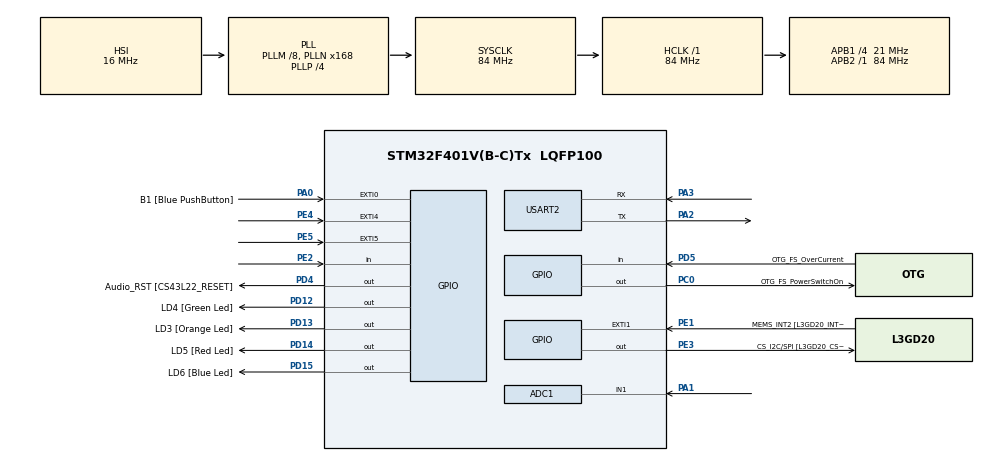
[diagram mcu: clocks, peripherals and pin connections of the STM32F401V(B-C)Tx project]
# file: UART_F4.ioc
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ADC1.Channel-4\#ChannelRegularConversion=ADC_CHANNEL_1
ADC1.ClockPrescaler=ADC_CLOCK_SYNC_PCLK_DIV4
ADC1.ContinuousConvMode=DISABLE
ADC1.DMAContinuousRequests=DISABLE
ADC1.DataAlign=ADC_DATAALIGN_RIGHT
ADC1.DiscontinuousConvMode=DISABLE
ADC1.EOCSelection=ADC_EOC_SINGLE_CONV
ADC1.EnableAnalogWatchDog=false
ADC1.ExternalTrigConv=ADC_EXTERNALTRIGCONV_T2_TRGO
ADC1.ExternalTrigConvEdge=ADC_EXTERNALTRIGCONVEDGE_RISING
ADC1.InjNumberOfConversion=0
ADC1.NbrOfConversion=1
ADC1.NbrOfConversionFlag=1
ADC1.Rank-4\#ChannelRegularConversion=1
ADC1.Resolution=ADC_RESOLUTION_12B
ADC1.SamplingTime-4\#ChannelRegularConversion=ADC_SAMPLETIME_144CYCLES
ADC1.ScanConvMode=DISABLE
ADC1.master=1
Dma.ADC1.0.Direction=DMA_PERIPH_TO_MEMORY
Dma.ADC1.0.FIFOMode=DMA_FIFOMODE_DISABLE
Dma.ADC1.0.Instance=DMA2_Stream0
Dma.ADC1.0.MemDataAlignment=DMA_MDATAALIGN_HALFWORD
Dma.ADC1.0.MemInc=DMA_MINC_ENABLE
Dma.ADC1.0.Mode=DMA_NORMAL
Dma.ADC1.0.PeriphDataAlignment=DMA_PDATAALIGN_HALFWORD
Dma.ADC1.0.PeriphInc=DMA_PINC_DISABLE
Dma.ADC1.0.Priority=DMA_PRIORITY_LOW
Dma.Request0=ADC1
Mcu.Family=STM32F4
Mcu.Name=STM32F401V(B-C)Tx
Mcu.Package=LQFP100
NVIC.DMA2_Stream0_IRQn=true\:0\:0\:false\:false\:true
NVIC.PriorityGroup=NVIC_PRIORITYGROUP_0
PA0-WKUP.GPIO_Label=B1 [Blue PushButton]
PA0-WKUP.GPIO_ModeDefaultEXTI=GPIO_MODE_EVT_RISING
PA0-WKUP.Signal=GPXTI0
PA1.Signal=ADCx_IN1
PA10.GPIO_Label=OTG_FS_ID
PA10.Signal=USB_OTG_FS_ID
PA11.GPIO_Label=OTG_FS_DM
PA11.Signal=USB_OTG_FS_DM
PA12.GPIO_Label=OTG_FS_DP
PA12.Signal=USB_OTG_FS_DP
PA13.GPIO_Label=SWDIO
PA13.Signal=SYS_JTMS-SWDIO
PA14.GPIO_Label=SWCLK
PA14.Signal=SYS_JTCK-SWCLK
PA2.Mode=Asynchronous
PA2.Signal=USART2_TX
PA3.Mode=Asynchronous
PA3.Signal=USART2_RX
PA4.GPIO_Label=I2S3_WS [CS43L22_LRCK]
PA4.GPIO_Mode=GPIO_MODE_AF_PP
PA4.GPIO_PuPd=GPIO_NOPULL
PA4.GPIO_Speed=GPIO_SPEED_FREQ_LOW
PA4.Signal=I2S3_WS
PA5.GPIO_Label=SPI1_SCK [L3GD20_SC/SPC]
PA5.Signal=SPI1_SCK
PA6.GPIO_Label=SPI1_MISO [L3GD20_AS0/SDO]
PA6.Signal=SPI1_MISO
PA7.GPIO_Label=SPI1_MISO [L3GD20_SDA/SDI/SDO]
PA7.Signal=SPI1_MOSI
PA9.GPIO_Label=VBUS_FS
PA9.Signal=USB_OTG_FS_VBUS
PB10.GPIO_Label=CLK_IN [MP45DT02_CLK]
PB10.Signal=I2S2_CK
PB12.Signal=I2S2_WS
PB3.GPIO_Label=SWO
PB3.Signal=SYS_JTDO-SWO
PB6.GPIO_Label=Audio_SCL [CS43L22_SCL]
PB6.GPIO_Mode=GPIO_MODE_AF_OD
PB6.GPIO_PuPd=GPIO_NOPULL
PB6.GPIO_Speed=GPIO_SPEED_FREQ_LOW
PB6.Signal=I2C1_SCL
PB9.GPIO_Label=Audio_SDA [CS43L22_SDA]
PB9.GPIO_Mode=GPIO_MODE_AF_OD
PB9.GPIO_PuPd=GPIO_NOPULL
PB9.GPIO_Speed=GPIO_SPEED_FREQ_LOW
PB9.Signal=I2C1_SDA
PC0.GPIO_Label=OTG_FS_PowerSwitchOn
PC0.PinState=GPIO_PIN_SET
PC0.Signal=GPIO_Output
PC10.GPIO_Label=I2S3_SCK [CS43L22_SCLK]
PC10.GPIO_Mode=GPIO_MODE_AF_PP
PC10.GPIO_PuPd=GPIO_NOPULL
PC10.GPIO_Speed=GPIO_SPEED_FREQ_LOW
PC10.Signal=I2S3_CK
PC12.GPIO_Label=I2S3_SD [CS43L22_SDIN]
PC12.GPIO_Mode=GPIO_MODE_AF_PP
PC12.GPIO_PuPd=GPIO_NOPULL
PC12.GPIO_Speed=GPIO_SPEED_FREQ_LOW
PC12.Signal=I2S3_SD
PC14-OSC32_IN.GPIO_Label=PC14-OSC32_IN
PC14-OSC32_IN.Signal=RCC_OSC32_IN
PC15-OSC32_OUT.GPIO_Label=PC15-OSC32_OUT
PC15-OSC32_OUT.Signal=RCC_OSC32_OUT
PC3.GPIO_Label=PDM_OUT [MP45DT02_DOUT]
PC3.Signal=I2S2_SD
PC7.GPIO_Label=I2S3_MCK [CS43L22_MCLK]
PC7.GPIO_Mode=GPIO_MODE_AF_PP
PC7.GPIO_PuPd=GPIO_NOPULL
PC7.GPIO_Speed=GPIO_SPEED_FREQ_LOW
PC7.Signal=I2S3_MCK
PD12.GPIO_Label=LD4 [Green Led]
PD12.GPIO_PuPd=GPIO_NOPULL
PD12.GPIO_Speed=GPIO_SPEED_FREQ_LOW
PD12.Signal=GPIO_Output
PD13.GPIO_Label=LD3 [Orange Led]
PD13.GPIO_PuPd=GPIO_NOPULL
PD13.GPIO_Speed=GPIO_SPEED_FREQ_LOW
PD13.Signal=GPIO_Output
PD14.GPIO_Label=LD5 [Red Led]
PD14.GPIO_PuPd=GPIO_NOPULL
PD14.GPIO_Speed=GPIO_SPEED_FREQ_LOW
PD14.Signal=GPIO_Output
PD15.GPIO_Label=LD6 [Blue Led]
PD15.GPIO_PuPd=GPIO_NOPULL
PD15.GPIO_Speed=GPIO_SPEED_FREQ_LOW
PD15.Signal=GPIO_Output
PD4.GPIO_Label=Audio_RST [CS43L22_RESET]
PD4.Signal=GPIO_Output
PD5.GPIO_Label=OTG_FS_OverCurrent
PD5.Signal=GPIO_Input
PE1.GPIO_Label=MEMS_INT2 [L3GD20_INT2]
PE1.GPIO_ModeDefaultEXTI=GPIO_MODE_EVT_RISING
PE1.Signal=GPXTI1
PE2.Signal=GPIO_Input
PE3.GPIO_Label=CS_I2C/SPI [L3GD20_CS_I2C/SPI]
PE3.Signal=GPIO_Output
PE4.GPIO_ModeDefaultEXTI=GPIO_MODE_EVT_RISING
PE4.Signal=GPXTI4
PE5.GPIO_ModeDefaultEXTI=GPIO_MODE_EVT_RISING
PE5.Signal=GPXTI5
PH0\ -\ OSC_IN.GPIO_Label=PH0-OSC_IN
PH0\ -\ OSC_IN.Mode=HSE-External-Clock-Source
PH0\ -\ OSC_IN.Signal=RCC_OSC_IN
PH1\ -\ OSC_OUT.GPIO_Label=PH1-OSC_OUT
PH1\ -\ OSC_OUT.Mode=HSE-External-Clock-Source
PH1\ -\ OSC_OUT.Signal=RCC_OSC_OUT
ProjectManager.HeapSize=0x200
ProjectManager.StackSize=0x400
ProjectManager.TargetToolchain=SW4STM32
RCC.48MHZClocksFreq_Value=48000000
RCC.AHBFreq_Value=84000000
RCC.APB1CLKDivider=RCC_HCLK_DIV4
RCC.APB1Freq_Value=21000000
RCC.APB1TimFreq_Value=42000000
RCC.APB2Freq_Value=84000000
RCC.APB2TimFreq_Value=84000000
RCC.CortexFreq_Value=84000000
RCC.HCLKFreq_Value=84000000
RCC.HSE_VALUE=8000000
RCC.HSI_VALUE=16000000
RCC.LSE_VALUE=32768
RCC.PLLM=8
RCC.PLLN=168
RCC.PLLP=RCC_PLLP_DIV4
RCC.PLLQ=7
RCC.SYSCLKFreq_VALUE=84000000
RCC.SYSCLKSource=RCC_SYSCLKSOURCE_PLLCLK
RCC.VCOOutputFreq_Value=336000000
SH.ADCx_IN1.0=ADC1_IN1,IN1
TIM2.Period=84000
TIM2.TIM_MasterOutputTrigger=TIM_TRGO_UPDATE
TIM2.TIM_MasterSlaveMode=TIM_MASTERSLAVEMODE_ENABLE
USART2.VirtualMode=VM_ASYNC
VP_TIM2_VS_ClockSourceINT.Mode=Internal
board=STM32F401C-DISCO

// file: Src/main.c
/**
 * @file main.c
 * @author 	Salvatore Barone <salvator.barone@gmail.com> ,
 * 			Alfonso Di Martino <alfonsodimartino160989@gmail.com> ,
 * 			Sossio Fiorillo <fsossio@gmail.com> ,
 * 		 	Pietro Liguori <pie.liguori@gmail.com> .
 *
 * @date 07 07 2017
 *
 * @copyright
 * This program is free software; you can redistribute it and/or modify it under the terms of the GNU General Public License as
 * published by the Free Software Foundation; either version 3 of the License, or any later version.
 * This program is distributed in the hope that it will be useful, but WITHOUT ANY WARRANTY; without even the implied warranty
 * of MERCHANTABILITY or FITNESS FOR A PARTICULAR PURPOSE.  See the GNU General Public License for more details.
 * You should have received a copy of the GNU General Public License along with this program; if not, write to the Free
 * Software Foundation, Inc., 51 Franklin Street, Fifth Floor, Boston, MA 02110-1301, USA.
 *
 */

#include "main.h"
#include "stm32f4xx_hal.h"

/* USER CODE BEGIN Includes */
#include <stdio.h>
#include <stdlib.h>
#include <string.h>
#include <math.h>

/**
 * @addtogroup busSeriali
 * @{
 * @addtogroup UART
 * @{
 * @addtogroup UART_F4
 * @{
 *
 * @brief Implementazione dell' EOP UART F4 che effettua una misura di tensione (rumore sul PIN GND e tensione sul PIN VDD) tramite ADC e comunica con l'EOP UART F3
 * 			per ricevere i parametri della misura e per trasferire i dati acquisiti.
 *
 * @details
 * 			Il dispositivo viene configurato (per quanto riguarda il numero di campioni da acquisire e il formato della comunicazione dei valori acquisiti)
 * 			tramite comunicazione su UART2 da parte dell'EOP UART F3.
 * 			 - Per quanto riguarda la configurazione, il dispositivo riceve informazioni riguardo il numero di cifre per campione e il numero di campioni da acquisire
 * 			(queste due "fasi" sono rispettivamente associate ai due stati della macchina chiamati ATTESACONF ed ATTESA_CONF_CAMPIONI).
 * 			 - Una volta ricevuti i parametri della configurazione si passa allo stato EXECMIS, dove viene avviata la misura, attivando l'ADC che opera con DMA per il
 * 			trasferimento dei dati acquisiti, processando i valori di tensione ricevuti sul pin PA1 (il pin è connesso o al pin GND o al pin VDD, a seconda della misura
 * 			che si intende effettuare).
 * 			 - Terminata l'acquisizione, si passa allo stato STRDATA, dove essenzialmente si ha una modifica del "formato" dei dati, così da avere sequenze di caratteri
 * 			e non un buffer di valori int.
 * 			 - Si passa poi agli ultimi 3 stati della macchina, dove essenzialmente si ha il trasferimento dei dati dall'EOP UART F4 all' EOP UART F3. I 3 stati, rispettivamente
 * 			configurano la comunicazione tra F4 e F3 in termini di numero di cifre per campione e numero di campioni, con conseguente svolgimento del trasferimento
 * 			dello stream di dati acuisiti. <br>
 * 			La comunicaione tra i due EOP Uart avviene tramite bus seriale UART.
 */

#define MAXBUF          10			//!< Dimensione max del buffer di comunicazione
#define BUFADC          5000		//!< Dimensione del buffer che contiene i caratteri campionati dall'ADC
#define MAXADC          1000		//!< Dimensione max dei campioni nel buffer ADC

/* USER CODE END Includes */

ADC_HandleTypeDef hadc1;			//!< Handle della struttura ADC che sarà inizializzato
DMA_HandleTypeDef hdma_adc1;		//!< Handel della struttura dma_ADC che sarà inizializzato

TIM_HandleTypeDef htim2;			//!< Handle della struttura timer che sarà inizializzato

UART_HandleTypeDef huart2;			//!< Handle della struttura uart che sarà inizializzato

/* USER CODE BEGIN PV */
/* Private variables ---------------------------------------------------------*/
uint8_t buffer[MAXBUF];					//!< Buffer di comunicazione dei messaggi
char myChar;							//!< Carattere generico
char bufferADC[BUFADC];					//!< Buffer che contiene i caratteri convertiti dal ADC
unsigned short int codiciADC[MAXADC];	//!< Codice ADC
unsigned short int nChar;				//!< Numero di campioni

/**
 * @brief Stati di esecuzione della macchina
 */
enum StatoF4 {
	ATTESACONF,          		//!< In attesa di conoscere il numero di cifre dei campioni da acquisire.
	ATTESA_CONF_CAMPIONI,		//!< In attesa di conoscere il numero di campioni da acquisire.
	EXECMIS,             		//!< In attesa di completare l'acquisizione dei dati dall'ADC.
	STRDATA,             		//!< Stato in cui la macchina trasforma in stringhe le misure separate da " ; " .
	INVIOCONFNCIFRE,     		//!< Comunica all' EOP F3 il numero di cifre dei caratteri che rappresentano l'acquisizione 	F4->F3
	INVIOCONFNSAMPLES,   		//!< Comunica all' EOP F3 il numero di campioni che rappresentano l'acquisizione 	F4->F3
	INVIODATA            		//!< Comunica all' EOP F3 i dati oggetto della comunicazione.
}myState;

unsigned short int nSamp;		//!< Variabile che indica il numero di campioni
/* USER CODE END PV */

void SystemClock_Config(void);

/**
 * @brief Funzione di configurazione ed inizializzazione delle periferiche GPIO utilizzate.
 */
static void MX_GPIO_Init(void);

/**
  * @brief Funzione di abilitazione ed inizializzazione della periferica DMA
  */
static void MX_DMA_Init(void);

/**
  * @brief Funzione di abilitazione ed inizializzazione della periferica UART2
  */
static void MX_USART2_UART_Init(void);

/**
  * @brief Funzione di abilitazione ed inizializzazione della periferica UART
  */
static void MX_ADC1_Init(void);

/**
  * @brief Funzione di abilitazione ed inizializzazione della periferica TIMER ad 1ms
  */
static void MX_TIM2_Init(void);

/* USER CODE BEGIN PFP */
/* Private function prototypes -----------------------------------------------*/

/* USER CODE END PFP */

int main(void)
{

  /* MCU Configuration----------------------------------------------------------*/

  /* Reset of all peripherals, Initializes the Flash interface and the Systick. */
  HAL_Init();

  /* Configure the system clock */
  SystemClock_Config();

  /* Initialize all configured peripherals */
  MX_GPIO_Init();
  MX_DMA_Init();
  MX_USART2_UART_Init();
  MX_ADC1_Init();
  MX_TIM2_Init();

  /* USER CODE BEGIN 2 */
  myState = ATTESACONF;					// Stato iniziale della macchina
  unsigned short int app = 0;			// Variabile di appoggio
  /* USER CODE END 2 */

  /* Infinite loop */
  while (1)
  {

  /* USER CODE BEGIN 3 */
	  switch (myState){
	      case ATTESACONF:
	        memset(buffer,0,MAXBUF*sizeof(uint8_t));
			if(HAL_UART_Receive(&huart2, buffer, 1, 10000)!=0)		//In attesa di conoscere il numero di cifre dei campioni da acquisire.
	        	break;
	        app = buffer[0];										//numero di campioni
	        myState= ATTESA_CONF_CAMPIONI;
	        break;

	      case ATTESA_CONF_CAMPIONI:
	        if(HAL_UART_Receive(&huart2, buffer, app, 10000)!=0)		//In attesa di conoscere il numero di campioni da acquisire.
	        	break;
	        nSamp= atoi((const char*)buffer);						//il buffer viene trasformato in numero di campioni
	        myState = EXECMIS;
	        break;

	      case EXECMIS:
	    	HAL_TIM_Base_Start(&htim2);
	    	HAL_ADC_Start_DMA(&hadc1,codiciADC,nSamp);			//Si rende il DMA bloccante e si trasferiscono un numero di campioni pari a nSamp decrementandolo di uno ad ogni trasmissione
	    	while(DMA2_Stream0->NDTR > 0);						// in attesa della fine del trasferimento
	    	HAL_TIM_Base_Stop(&htim2);
	    	myState = STRDATA;

	    	break;

	      case STRDATA:
	        memset(bufferADC,0,BUFADC*sizeof(char));
	        for (int i=0; i<nSamp; i++){
	          sprintf(buffer, "%d;", codiciADC[i]);				//trasforma in stringhe le misure separate da " ; "
	          strcat(bufferADC,buffer);
	        }
	        memset(codiciADC,0,MAXADC*sizeof(unsigned short int));
	        myState = INVIOCONFNCIFRE;
	        break;

	      case INVIOCONFNCIFRE:
	        nChar = strlen(bufferADC);							//il numero di campioni deve essere uguale alla lunghezza del buffer contenente i dati campionati da ADC
	        app = (unsigned short int)ceilf(log10f(nChar));		//numero di cifre di cui è composto il numero di  campioni da acqusire
	        if(HAL_UART_Transmit(&huart2,&app,1,10000)!=0)		//Comunica all' EOP F3 il numero di cifre dei caratteri che rappresentano l'acquisizione 	F4->F3
	        	break;
	        myState = INVIOCONFNSAMPLES;
	        break;

	      case INVIOCONFNSAMPLES:
	        sprintf(buffer,"%d",nChar);
	        HAL_Delay(1000);
	        HAL_UART_Transmit(&huart2,buffer,app,10000);		//Trasmette la lunghezza del buffer
	        myState = INVIODATA;
	        break;

	      case INVIODATA:
	    	  HAL_Delay(1000);
	    	  HAL_UART_Transmit(&huart2, bufferADC, nChar, 10000);	// Trasmette i caratteri campionati da ADC
	    	memset(bufferADC,0,BUFADC*sizeof(char));
	        myState = ATTESACONF;
	        break;
	      default:
	        break;
	      }
  }
  /* USER CODE END 3 */

}

/** System Clock Configuration
*/
void SystemClock_Config(void)
{

  RCC_OscInitTypeDef RCC_OscInitStruct;
  RCC_ClkInitTypeDef RCC_ClkInitStruct;

    /**Configure the main internal regulator output voltage
    */
  __HAL_RCC_PWR_CLK_ENABLE();

  __HAL_PWR_VOLTAGESCALING_CONFIG(PWR_REGULATOR_VOLTAGE_SCALE2);

    /**Initializes the CPU, AHB and APB busses clocks
    */
  RCC_OscInitStruct.OscillatorType = RCC_OSCILLATORTYPE_HSI;
  RCC_OscInitStruct.HSIState = RCC_HSI_ON;
  RCC_OscInitStruct.HSICalibrationValue = 16;
  RCC_OscInitStruct.PLL.PLLState = RCC_PLL_ON;
  RCC_OscInitStruct.PLL.PLLSource = RCC_PLLSOURCE_HSI;
  RCC_OscInitStruct.PLL.PLLM = 8;
  RCC_OscInitStruct.PLL.PLLN = 168;
  RCC_OscInitStruct.PLL.PLLP = RCC_PLLP_DIV4;
  RCC_OscInitStruct.PLL.PLLQ = 7;
  if (HAL_RCC_OscConfig(&RCC_OscInitStruct) != HAL_OK)
  {
    _Error_Handler(__FILE__, __LINE__);
  }

    /**Initializes the CPU, AHB and APB busses clocks
    */
  RCC_ClkInitStruct.ClockType = RCC_CLOCKTYPE_HCLK|RCC_CLOCKTYPE_SYSCLK
                              |RCC_CLOCKTYPE_PCLK1|RCC_CLOCKTYPE_PCLK2;
  RCC_ClkInitStruct.SYSCLKSource = RCC_SYSCLKSOURCE_PLLCLK;
  RCC_ClkInitStruct.AHBCLKDivider = RCC_SYSCLK_DIV1;
  RCC_ClkInitStruct.APB1CLKDivider = RCC_HCLK_DIV4;
  RCC_ClkInitStruct.APB2CLKDivider = RCC_HCLK_DIV1;

  if (HAL_RCC_ClockConfig(&RCC_ClkInitStruct, FLASH_LATENCY_2) != HAL_OK)
  {
    _Error_Handler(__FILE__, __LINE__);
  }

    /**Configure the Systick interrupt time
    */
  HAL_SYSTICK_Config(HAL_RCC_GetHCLKFreq()/1000);

    /**Configure the Systick
    */
  HAL_SYSTICK_CLKSourceConfig(SYSTICK_CLKSOURCE_HCLK);

  /* SysTick_IRQn interrupt configuration */
  HAL_NVIC_SetPriority(SysTick_IRQn, 0, 0);
}

/* ADC1 init function */
static void MX_ADC1_Init(void)
{

  ADC_ChannelConfTypeDef sConfig;

    /**Configure the global features of the ADC (Clock, Resolution, Data Alignment and number of conversion)
    */
  hadc1.Instance = ADC1;
  hadc1.Init.ClockPrescaler = ADC_CLOCK_SYNC_PCLK_DIV4;
  hadc1.Init.Resolution = ADC_RESOLUTION_12B;
  hadc1.Init.ScanConvMode = DISABLE;
  hadc1.Init.ContinuousConvMode = DISABLE;
  hadc1.Init.DiscontinuousConvMode = DISABLE;
  hadc1.Init.ExternalTrigConvEdge = ADC_EXTERNALTRIGCONVEDGE_RISING;
  hadc1.Init.ExternalTrigConv = ADC_EXTERNALTRIGCONV_T2_TRGO;
  hadc1.Init.DataAlign = ADC_DATAALIGN_RIGHT;
  hadc1.Init.NbrOfConversion = 1;
  hadc1.Init.DMAContinuousRequests = ENABLE;
  hadc1.Init.EOCSelection = ADC_EOC_SINGLE_CONV;
  if (HAL_ADC_Init(&hadc1) != HAL_OK)
  {
    _Error_Handler(__FILE__, __LINE__);
  }

    /**Configure for the selected ADC regular channel its corresponding rank in the sequencer and its sample time.
    */
  sConfig.Channel = ADC_CHANNEL_1;
  sConfig.Rank = 1;
  sConfig.SamplingTime = ADC_SAMPLETIME_144CYCLES;
  if (HAL_ADC_ConfigChannel(&hadc1, &sConfig) != HAL_OK)
  {
    _Error_Handler(__FILE__, __LINE__);
  }

}

/* TIM2 init function */
static void MX_TIM2_Init(void)
{

  TIM_ClockConfigTypeDef sClockSourceConfig;
  TIM_MasterConfigTypeDef sMasterConfig;

  htim2.Instance = TIM2;
  htim2.Init.Prescaler = 0;
  htim2.Init.CounterMode = TIM_COUNTERMODE_UP;
  htim2.Init.Period = 84000;
  htim2.Init.ClockDivision = TIM_CLOCKDIVISION_DIV1;
  if (HAL_TIM_Base_Init(&htim2) != HAL_OK)
  {
    _Error_Handler(__FILE__, __LINE__);
  }

  sClockSourceConfig.ClockSource = TIM_CLOCKSOURCE_INTERNAL;
  if (HAL_TIM_ConfigClockSource(&htim2, &sClockSourceConfig) != HAL_OK)
  {
    _Error_Handler(__FILE__, __LINE__);
  }

  sMasterConfig.MasterOutputTrigger = TIM_TRGO_UPDATE;
  sMasterConfig.MasterSlaveMode = TIM_MASTERSLAVEMODE_ENABLE;
  if (HAL_TIMEx_MasterConfigSynchronization(&htim2, &sMasterConfig) != HAL_OK)
  {
    _Error_Handler(__FILE__, __LINE__);
  }

}

/* USART2 init function */
static void MX_USART2_UART_Init(void)
{

  huart2.Instance = USART2;
  huart2.Init.BaudRate = 115200;
  huart2.Init.WordLength = UART_WORDLENGTH_8B;
  huart2.Init.StopBits = UART_STOPBITS_1;
  huart2.Init.Parity = UART_PARITY_NONE;
  huart2.Init.Mode = UART_MODE_TX_RX;
  huart2.Init.HwFlowCtl = UART_HWCONTROL_NONE;
  huart2.Init.OverSampling = UART_OVERSAMPLING_16;
  if (HAL_UART_Init(&huart2) != HAL_OK)
  {
    _Error_Handler(__FILE__, __LINE__);
  }

}

static void MX_DMA_Init(void)
{
  /* DMA controller clock enable */
  __HAL_RCC_DMA2_CLK_ENABLE();

  /* DMA interrupt init */
  /* DMA2_Stream0_IRQn interrupt configuration */
  HAL_NVIC_SetPriority(DMA2_Stream0_IRQn, 0, 0);
  HAL_NVIC_EnableIRQ(DMA2_Stream0_IRQn);

}

/** Configure pins as
        * Analog
        * Input
        * Output
        * EVENT_OUT
        * EXTI
     PC3   ------> I2S2_SD
     PA4   ------> I2S3_WS
     PA5   ------> SPI1_SCK
     PA6   ------> SPI1_MISO
     PA7   ------> SPI1_MOSI
     PB10   ------> I2S2_CK
     PB12   ------> I2S2_WS
     PC7   ------> I2S3_MCK
     PA9   ------> USB_OTG_FS_VBUS
     PA10   ------> USB_OTG_FS_ID
     PA11   ------> USB_OTG_FS_DM
     PA12   ------> USB_OTG_FS_DP
     PC10   ------> I2S3_CK
     PC12   ------> I2S3_SD
     PB6   ------> I2C1_SCL
     PB9   ------> I2C1_SDA
*/
static void MX_GPIO_Init(void)
{

  GPIO_InitTypeDef GPIO_InitStruct;

  /* GPIO Ports Clock Enable */
  __HAL_RCC_GPIOE_CLK_ENABLE();
  __HAL_RCC_GPIOC_CLK_ENABLE();
  __HAL_RCC_GPIOH_CLK_ENABLE();
  __HAL_RCC_GPIOA_CLK_ENABLE();
  __HAL_RCC_GPIOB_CLK_ENABLE();
  __HAL_RCC_GPIOD_CLK_ENABLE();

  /*Configure GPIO pin Output Level */
  HAL_GPIO_WritePin(CS_I2C_SPI_GPIO_Port, CS_I2C_SPI_Pin, GPIO_PIN_RESET);

  /*Configure GPIO pin Output Level */
  HAL_GPIO_WritePin(OTG_FS_PowerSwitchOn_GPIO_Port, OTG_FS_PowerSwitchOn_Pin, GPIO_PIN_SET);

  /*Configure GPIO pin Output Level */
  HAL_GPIO_WritePin(GPIOD, LD4_Pin|LD3_Pin|LD5_Pin|LD6_Pin
                          |Audio_RST_Pin, GPIO_PIN_RESET);

  /*Configure GPIO pin : PE2 */
  GPIO_InitStruct.Pin = GPIO_PIN_2;
  GPIO_InitStruct.Mode = GPIO_MODE_INPUT;
  GPIO_InitStruct.Pull = GPIO_NOPULL;
  HAL_GPIO_Init(GPIOE, &GPIO_InitStruct);

  /*Configure GPIO pin : CS_I2C_SPI_Pin */
  GPIO_InitStruct.Pin = CS_I2C_SPI_Pin;
  GPIO_InitStruct.Mode = GPIO_MODE_OUTPUT_PP;
  GPIO_InitStruct.Pull = GPIO_NOPULL;
  GPIO_InitStruct.Speed = GPIO_SPEED_FREQ_LOW;
  HAL_GPIO_Init(CS_I2C_SPI_GPIO_Port, &GPIO_InitStruct);

  /*Configure GPIO pins : PE4 PE5 MEMS_INT2_Pin */
  GPIO_InitStruct.Pin = GPIO_PIN_4|GPIO_PIN_5|MEMS_INT2_Pin;
  GPIO_InitStruct.Mode = GPIO_MODE_EVT_RISING;
  GPIO_InitStruct.Pull = GPIO_NOPULL;
  HAL_GPIO_Init(GPIOE, &GPIO_InitStruct);

  /*Configure GPIO pin : OTG_FS_PowerSwitchOn_Pin */
  GPIO_InitStruct.Pin = OTG_FS_PowerSwitchOn_Pin;
  GPIO_InitStruct.Mode = GPIO_MODE_OUTPUT_PP;
  GPIO_InitStruct.Pull = GPIO_NOPULL;
  GPIO_InitStruct.Speed = GPIO_SPEED_FREQ_LOW;
  HAL_GPIO_Init(OTG_FS_PowerSwitchOn_GPIO_Port, &GPIO_InitStruct);

  /*Configure GPIO pin : PDM_OUT_Pin */
  GPIO_InitStruct.Pin = PDM_OUT_Pin;
  GPIO_InitStruct.Mode = GPIO_MODE_AF_PP;
  GPIO_InitStruct.Pull = GPIO_NOPULL;
  GPIO_InitStruct.Speed = GPIO_SPEED_FREQ_LOW;
  GPIO_InitStruct.Alternate = GPIO_AF5_SPI2;
  HAL_GPIO_Init(PDM_OUT_GPIO_Port, &GPIO_InitStruct);

  /*Configure GPIO pin : B1_Pin */
  GPIO_InitStruct.Pin = B1_Pin;
  GPIO_InitStruct.Mode = GPIO_MODE_EVT_RISING;
  GPIO_InitStruct.Pull = GPIO_NOPULL;
  HAL_GPIO_Init(B1_GPIO_Port, &GPIO_InitStruct);

  /*Configure GPIO pin : I2S3_WS_Pin */
  GPIO_InitStruct.Pin = I2S3_WS_Pin;
  GPIO_InitStruct.Mode = GPIO_MODE_AF_PP;
  GPIO_InitStruct.Pull = GPIO_NOPULL;
  GPIO_InitStruct.Speed = GPIO_SPEED_FREQ_LOW;
  GPIO_InitStruct.Alternate = GPIO_AF6_SPI3;
  HAL_GPIO_Init(I2S3_WS_GPIO_Port, &GPIO_InitStruct);

  /*Configure GPIO pins : SPI1_SCK_Pin SPI1_MISO_Pin SPI1_MISOA7_Pin */
  GPIO_InitStruct.Pin = SPI1_SCK_Pin|SPI1_MISO_Pin|SPI1_MISOA7_Pin;
  GPIO_InitStruct.Mode = GPIO_MODE_AF_PP;
  GPIO_InitStruct.Pull = GPIO_NOPULL;
  GPIO_InitStruct.Speed = GPIO_SPEED_FREQ_VERY_HIGH;
  GPIO_InitStruct.Alternate = GPIO_AF5_SPI1;
  HAL_GPIO_Init(GPIOA, &GPIO_InitStruct);

  /*Configure GPIO pins : CLK_IN_Pin PB12 */
  GPIO_InitStruct.Pin = CLK_IN_Pin|GPIO_PIN_12;
  GPIO_InitStruct.Mode = GPIO_MODE_AF_PP;
  GPIO_InitStruct.Pull = GPIO_NOPULL;
  GPIO_InitStruct.Speed = GPIO_SPEED_FREQ_LOW;
  GPIO_InitStruct.Alternate = GPIO_AF5_SPI2;
  HAL_GPIO_Init(GPIOB, &GPIO_InitStruct);

  /*Configure GPIO pins : LD4_Pin LD3_Pin LD5_Pin LD6_Pin
                           Audio_RST_Pin */
  GPIO_InitStruct.Pin = LD4_Pin|LD3_Pin|LD5_Pin|LD6_Pin
                          |Audio_RST_Pin;
  GPIO_InitStruct.Mode = GPIO_MODE_OUTPUT_PP;
  GPIO_InitStruct.Pull = GPIO_NOPULL;
  GPIO_InitStruct.Speed = GPIO_SPEED_FREQ_LOW;
  HAL_GPIO_Init(GPIOD, &GPIO_InitStruct);

  /*Configure GPIO pins : I2S3_MCK_Pin I2S3_SCK_Pin I2S3_SD_Pin */
  GPIO_InitStruct.Pin = I2S3_MCK_Pin|I2S3_SCK_Pin|I2S3_SD_Pin;
  GPIO_InitStruct.Mode = GPIO_MODE_AF_PP;
  GPIO_InitStruct.Pull = GPIO_NOPULL;
  GPIO_InitStruct.Speed = GPIO_SPEED_FREQ_LOW;
  GPIO_InitStruct.Alternate = GPIO_AF6_SPI3;
  HAL_GPIO_Init(GPIOC, &GPIO_InitStruct);

  /*Configure GPIO pin : VBUS_FS_Pin */
  GPIO_InitStruct.Pin = VBUS_FS_Pin;
  GPIO_InitStruct.Mode = GPIO_MODE_INPUT;
  GPIO_InitStruct.Pull = GPIO_NOPULL;
  HAL_GPIO_Init(VBUS_FS_GPIO_Port, &GPIO_InitStruct);

  /*Configure GPIO pins : OTG_FS_ID_Pin OTG_FS_DM_Pin OTG_FS_DP_Pin */
  GPIO_InitStruct.Pin = OTG_FS_ID_Pin|OTG_FS_DM_Pin|OTG_FS_DP_Pin;
  GPIO_InitStruct.Mode = GPIO_MODE_AF_PP;
  GPIO_InitStruct.Pull = GPIO_NOPULL;
  GPIO_InitStruct.Speed = GPIO_SPEED_FREQ_VERY_HIGH;
  GPIO_InitStruct.Alternate = GPIO_AF10_OTG_FS;
  HAL_GPIO_Init(GPIOA, &GPIO_InitStruct);

  /*Configure GPIO pin : OTG_FS_OverCurrent_Pin */
  GPIO_InitStruct.Pin = OTG_FS_OverCurrent_Pin;
  GPIO_InitStruct.Mode = GPIO_MODE_INPUT;
  GPIO_InitStruct.Pull = GPIO_NOPULL;
  HAL_GPIO_Init(OTG_FS_OverCurrent_GPIO_Port, &GPIO_InitStruct);

  /*Configure GPIO pins : Audio_SCL_Pin Audio_SDA_Pin */
  GPIO_InitStruct.Pin = Audio_SCL_Pin|Audio_SDA_Pin;
  GPIO_InitStruct.Mode = GPIO_MODE_AF_OD;
  GPIO_InitStruct.Pull = GPIO_PULLUP;
  GPIO_InitStruct.Speed = GPIO_SPEED_FREQ_LOW;
  GPIO_InitStruct.Alternate = GPIO_AF4_I2C1;
  HAL_GPIO_Init(GPIOB, &GPIO_InitStruct);

}

void _Error_Handler(char * file, int line)
{
  while(1)
  {
  }
}

/** @} @} @} */

/************************ (C) COPYRIGHT STMicroelectronics *****END OF FILE****/
